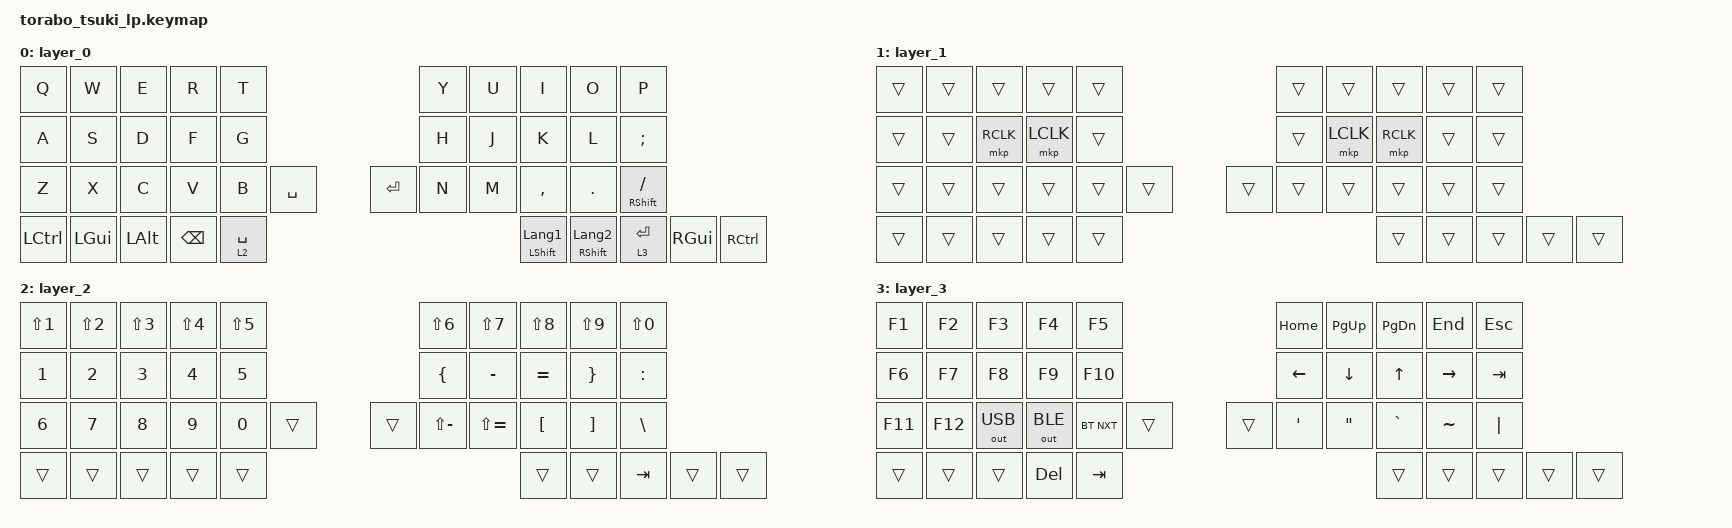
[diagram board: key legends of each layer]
#include <behaviors.dtsi>
#include <dt-bindings/zmk/bt.h>
#include <dt-bindings/zmk/keys.h>
#include <dt-bindings/zmk/outputs.h>
#include <dt-bindings/zmk/pointing.h>

/ {
    combos {
        compatible = "zmk,combos";

        bt_clear {
            bindings = <&bt BT_CLR>;
            key-positions = <28 29>;
            layers = <2>;
        };
    };

    keymap {
        compatible = "zmk,keymap";

        layer_0 {
            bindings = <
&kp Q      &kp W     &kp E     &kp R     &kp T                                                          &kp Y        &kp U     &kp I      &kp O     &kp P
&kp A      &kp S     &kp D     &kp F     &kp G                                                          &kp H        &kp J     &kp K      &kp L     &kp SEMI
&kp Z      &kp X     &kp C     &kp V     &kp B        &kp SPACE                  &kp RET                &kp N        &kp M     &kp COMMA  &kp DOT   &mt RIGHT_SHIFT FSLH
&kp LCTRL  &kp LGUI  &kp LALT  &kp BSPC  &lt 2 SPACE  &mt LEFT_SHIFT LANGUAGE_1  &mt RSHIFT LANGUAGE_2  &lt 3 ENTER                                        &kp RGUI  &kp RCTRL
            >;
        };

        layer_1 {
            bindings = <
&trans  &trans  &trans     &trans     &trans                  &trans  &trans     &trans     &trans  &trans
&trans  &trans  &mkp RCLK  &mkp LCLK  &trans                  &trans  &mkp LCLK  &mkp RCLK  &trans  &trans
&trans  &trans  &trans     &trans     &trans  &trans  &trans  &trans  &trans     &trans     &trans  &trans
&trans  &trans  &trans     &trans     &trans  &trans  &trans  &trans                        &trans  &trans
            >;
        };

        layer_2 {
            bindings = <
&kp LS(NUMBER_1)  &kp LS(NUMBER_2)  &kp LS(N3)  &kp LS(N4)  &kp LS(N5)                  &kp LS(N6)      &kp LS(N7)     &kp LS(N8)        &kp LS(N9)         &kp LS(N0)
&kp N1            &kp N2            &kp N3      &kp N4      &kp N5                      &kp LEFT_BRACE  &kp MINUS      &kp EQUAL         &kp RIGHT_BRACE    &kp COLON
&kp N6            &kp N7            &kp N8      &kp N9      &kp N0      &trans  &trans  &kp LS(MINUS)   &kp LS(EQUAL)  &kp LEFT_BRACKET  &kp RIGHT_BRACKET  &kp BACKSLASH
&trans            &trans            &trans      &trans      &trans      &trans  &trans  &kp TAB                                          &trans             &trans
            >;
        };

        layer_3 {
            bindings = <
&kp F1   &kp F2   &kp F3        &kp F4        &kp F5                      &kp HOME          &kp PG_UP  &kp PAGE_DOWN  &kp END    &kp ESCAPE
&kp F6   &kp F7   &kp F8        &kp F9        &kp F10                     &kp LEFT          &kp DOWN   &kp UP_ARROW   &kp RIGHT  &kp TAB
&kp F11  &kp F12  &out OUT_USB  &out OUT_BLE  &bt BT_NXT  &trans  &trans  &kp SINGLE_QUOTE  &kp DQT    &kp GRAVE      &kp TILDE  &kp PIPE
&trans   &trans   &trans        &kp DELETE    &kp TAB     &trans  &trans  &trans                                      &trans     &trans
            >;
        };
    };
};
